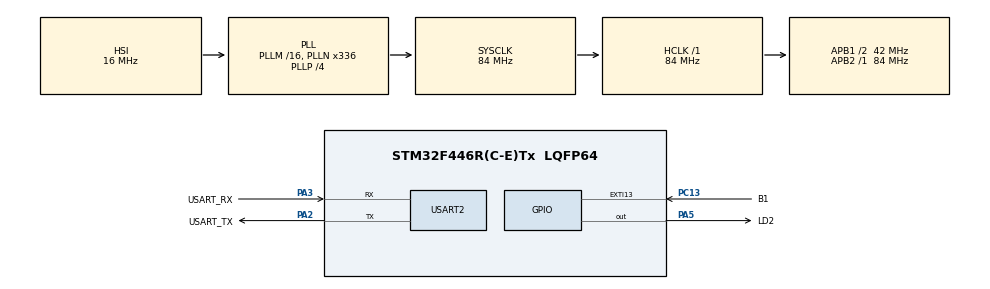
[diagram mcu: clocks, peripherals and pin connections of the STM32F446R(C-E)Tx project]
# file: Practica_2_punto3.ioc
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Mcu.Family=STM32F4
Mcu.Name=STM32F446R(C-E)Tx
Mcu.Package=LQFP64
NVIC.PriorityGroup=NVIC_PRIORITYGROUP_0
PA13.GPIO_Label=TMS
PA13.Mode=Serial_Wire
PA13.Signal=SYS_JTMS-SWDIO
PA14.GPIO_Label=TCK
PA14.Mode=Serial_Wire
PA14.Signal=SYS_JTCK-SWCLK
PA2.GPIO_Label=USART_TX
PA2.Mode=Asynchronous
PA2.Signal=USART2_TX
PA3.GPIO_Label=USART_RX
PA3.Mode=Asynchronous
PA3.Signal=USART2_RX
PA5.GPIO_Label=LD2
PA5.Signal=GPIO_Output
PB3.GPIO_Label=SWO
PB3.Signal=SYS_JTDO-SWO
PC13.GPIO_Label=B1
PC13.GPIO_ModeDefaultEXTI=GPIO_MODE_IT_FALLING
PC13.Signal=GPXTI13
PC14-OSC32_IN.Mode=LSE-External-Oscillator
PC14-OSC32_IN.Signal=RCC_OSC32_IN
PC15-OSC32_OUT.Mode=LSE-External-Oscillator
PC15-OSC32_OUT.Signal=RCC_OSC32_OUT
PH0-OSC_IN.Mode=HSE-External-Oscillator
PH0-OSC_IN.Signal=RCC_OSC_IN
PH1-OSC_OUT.Mode=HSE-External-Oscillator
PH1-OSC_OUT.Signal=RCC_OSC_OUT
ProjectManager.HeapSize=0x200
ProjectManager.StackSize=0x400
ProjectManager.TargetToolchain=STM32CubeIDE
RCC.48MHZClocksFreq_Value=84000000
RCC.AHBFreq_Value=84000000
RCC.APB1CLKDivider=RCC_HCLK_DIV2
RCC.APB1Freq_Value=42000000
RCC.APB1TimFreq_Value=84000000
RCC.APB2Freq_Value=84000000
RCC.APB2TimFreq_Value=84000000
RCC.CortexFreq_Value=84000000
RCC.FLatency-AdvancedSettings=FLASH_LATENCY_2
RCC.HCLKFreq_Value=84000000
RCC.HSE_VALUE=8000000
RCC.HSI_VALUE=16000000
RCC.PLLN=336
RCC.PLLP=RCC_PLLP_DIV4
RCC.SYSCLKFreq_VALUE=84000000
RCC.SYSCLKSource=RCC_SYSCLKSOURCE_PLLCLK
RCC.USBFreq_Value=168000000
RCC.VCOOutputFreq_Value=336000000
USART2.VirtualMode=VM_ASYNC
board=NUCLEO-F446RE

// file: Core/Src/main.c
/* USER CODE BEGIN Header */
/**
  ******************************************************************************
  * @file           : main.c
  * @brief          : Main program body
  ******************************************************************************
  * @attention
  *
  * Copyright (c) 2025 STMicroelectronics.
  * All rights reserved.
  *
  * This software is licensed under terms that can be found in the LICENSE file
  * in the root directory of this software component.
  * If no LICENSE file comes with this software, it is provided AS-IS.
  *
  ******************************************************************************
  */
/* USER CODE END Header */
#include "main.h"

/* USER CODE BEGIN Includes */
#include "API_delay.h"
/* USER CODE END Includes */

UART_HandleTypeDef huart2;

void SystemClock_Config(void);
static void MX_GPIO_Init(void);
static void MX_USART2_UART_Init(void);

int main(void)
{

  /* USER CODE BEGIN 1 */
	// Estructura para definir cada paso del patrón de parpadeo
		typedef struct {
		    tick_t period_ms;   // Período total del parpadeo (ON + OFF)
		    uint8_t num_blinks; // Cantidad de parpadeos para este período
		} BlinkPattern_t;

		// Arreglo constante que define la secuencia completa
		const BlinkPattern_t pattern[] = {
		    {1000, 5}, // 5 veces con período de 1 segundo (500ms ON, 500ms OFF)
		    {200,  5}, // 5 veces con período de 200 ms (100ms ON, 100ms OFF)
		    {100,  5}  // 5 veces con período de 100 ms (50ms ON, 50ms OFF)
		};

		// Variables para gestionar el estado de la secuencia
		uint8_t pattern_index = 0;
		uint8_t toggle_count = 0;

		// Nuestra variable de retardo, como antes
		delay_t led_delay;
  /* USER CODE END 1 */

  /* MCU Configuration--------------------------------------------------------*/

  /* Reset of all peripherals, Initializes the Flash interface and the Systick. */
  HAL_Init();

  /* Configure the system clock */
  SystemClock_Config();

  /* Initialize all configured peripherals */
  MX_GPIO_Init();
  MX_USART2_UART_Init();
  /* USER CODE BEGIN 2 */
  // Calculamos el número total de pasos en nuestro patrón
    const uint8_t pattern_size = sizeof(pattern) / sizeof(pattern[0]);

    // Inicializamos el retardo con la duración del PRIMER paso del patrón.
    // La duración del retardo es la MITAD del período para un ciclo de trabajo del 50%.
    delayInit(&led_delay, pattern[pattern_index].period_ms / 2);
  /* USER CODE END 2 */

  /* Infinite loop */
  while (1)
  {

    /* USER CODE BEGIN 3 */
	  // Verificamos si se cumplió el tiempo de retardo actual
	      if ( delayRead(&led_delay) )
	      {
	          // 1. Invertimos el estado del LED
	          HAL_GPIO_TogglePin(LD2_GPIO_Port, LD2_Pin);

	          // 2. Incrementamos el contador de inversiones
	          toggle_count++;

	          // 3. Verificamos si completamos los parpadeos de la fase actual
	          // (num_blinks * 2 porque cada parpadeo tiene un ON y un OFF)
	          if ( toggle_count >= (pattern[pattern_index].num_blinks * 2) )
	          {
	              // Fase completada, reiniciamos el contador de toggles
	              toggle_count = 0;

	              // Avanzamos al siguiente paso del patrón
	              pattern_index++;

	              // Si llegamos al final del patrón, volvemos al inicio
	              if ( pattern_index >= pattern_size )
	              {
	                  pattern_index = 0;
	              }

	              // 4. ACTUALIZAMOS la duración del retardo para la NUEVA fase
	              delayWrite(&led_delay, pattern[pattern_index].period_ms / 2);
	          }
	      }
  }
  /* USER CODE END 3 */
}

void SystemClock_Config(void)
{
  RCC_OscInitTypeDef RCC_OscInitStruct = {0};
  RCC_ClkInitTypeDef RCC_ClkInitStruct = {0};

  /** Configure the main internal regulator output voltage
  */
  __HAL_RCC_PWR_CLK_ENABLE();
  __HAL_PWR_VOLTAGESCALING_CONFIG(PWR_REGULATOR_VOLTAGE_SCALE3);

  /** Initializes the RCC Oscillators according to the specified parameters
  * in the RCC_OscInitTypeDef structure.
  */
  RCC_OscInitStruct.OscillatorType = RCC_OSCILLATORTYPE_HSI;
  RCC_OscInitStruct.HSIState = RCC_HSI_ON;
  RCC_OscInitStruct.HSICalibrationValue = RCC_HSICALIBRATION_DEFAULT;
  RCC_OscInitStruct.PLL.PLLState = RCC_PLL_ON;
  RCC_OscInitStruct.PLL.PLLSource = RCC_PLLSOURCE_HSI;
  RCC_OscInitStruct.PLL.PLLM = 16;
  RCC_OscInitStruct.PLL.PLLN = 336;
  RCC_OscInitStruct.PLL.PLLP = RCC_PLLP_DIV4;
  RCC_OscInitStruct.PLL.PLLQ = 2;
  RCC_OscInitStruct.PLL.PLLR = 2;
  if (HAL_RCC_OscConfig(&RCC_OscInitStruct) != HAL_OK)
  {
    Error_Handler();
  }

  /** Initializes the CPU, AHB and APB buses clocks
  */
  RCC_ClkInitStruct.ClockType = RCC_CLOCKTYPE_HCLK|RCC_CLOCKTYPE_SYSCLK
                              |RCC_CLOCKTYPE_PCLK1|RCC_CLOCKTYPE_PCLK2;
  RCC_ClkInitStruct.SYSCLKSource = RCC_SYSCLKSOURCE_PLLCLK;
  RCC_ClkInitStruct.AHBCLKDivider = RCC_SYSCLK_DIV1;
  RCC_ClkInitStruct.APB1CLKDivider = RCC_HCLK_DIV2;
  RCC_ClkInitStruct.APB2CLKDivider = RCC_HCLK_DIV1;

  if (HAL_RCC_ClockConfig(&RCC_ClkInitStruct, FLASH_LATENCY_2) != HAL_OK)
  {
    Error_Handler();
  }
}

static void MX_USART2_UART_Init(void)
{

  huart2.Instance = USART2;
  huart2.Init.BaudRate = 115200;
  huart2.Init.WordLength = UART_WORDLENGTH_8B;
  huart2.Init.StopBits = UART_STOPBITS_1;
  huart2.Init.Parity = UART_PARITY_NONE;
  huart2.Init.Mode = UART_MODE_TX_RX;
  huart2.Init.HwFlowCtl = UART_HWCONTROL_NONE;
  huart2.Init.OverSampling = UART_OVERSAMPLING_16;
  if (HAL_UART_Init(&huart2) != HAL_OK)
  {
    Error_Handler();
  }

}

static void MX_GPIO_Init(void)
{
  GPIO_InitTypeDef GPIO_InitStruct = {0};

  /* GPIO Ports Clock Enable */
  __HAL_RCC_GPIOC_CLK_ENABLE();
  __HAL_RCC_GPIOH_CLK_ENABLE();
  __HAL_RCC_GPIOA_CLK_ENABLE();
  __HAL_RCC_GPIOB_CLK_ENABLE();

  /*Configure GPIO pin Output Level */
  HAL_GPIO_WritePin(LD2_GPIO_Port, LD2_Pin, GPIO_PIN_RESET);

  /*Configure GPIO pin : B1_Pin */
  GPIO_InitStruct.Pin = B1_Pin;
  GPIO_InitStruct.Mode = GPIO_MODE_IT_FALLING;
  GPIO_InitStruct.Pull = GPIO_NOPULL;
  HAL_GPIO_Init(B1_GPIO_Port, &GPIO_InitStruct);

  /*Configure GPIO pin : LD2_Pin */
  GPIO_InitStruct.Pin = LD2_Pin;
  GPIO_InitStruct.Mode = GPIO_MODE_OUTPUT_PP;
  GPIO_InitStruct.Pull = GPIO_NOPULL;
  GPIO_InitStruct.Speed = GPIO_SPEED_FREQ_LOW;
  HAL_GPIO_Init(LD2_GPIO_Port, &GPIO_InitStruct);

}

void Error_Handler(void)
{
  __disable_irq();
  while (1)
  {
  }
}
